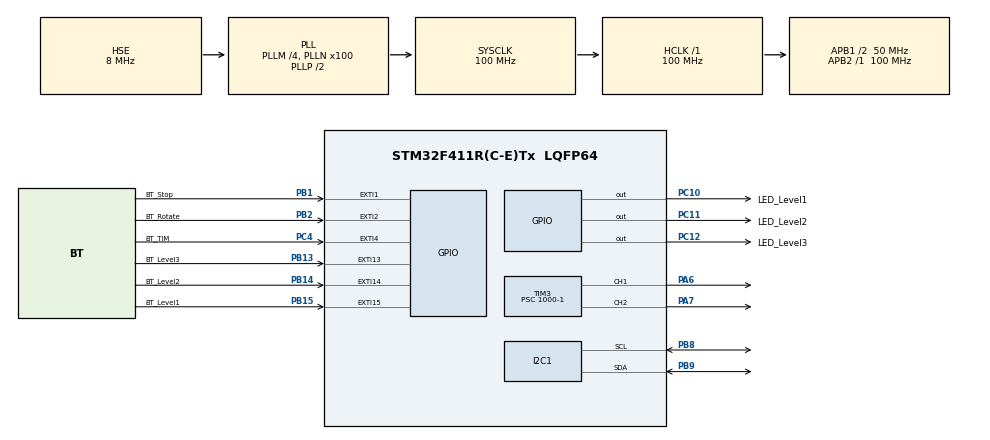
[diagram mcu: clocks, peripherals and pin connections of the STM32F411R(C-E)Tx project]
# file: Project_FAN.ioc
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Mcu.Family=STM32F4
Mcu.Name=STM32F411R(C-E)Tx
Mcu.Package=LQFP64
NVIC.EXTI15_10_IRQn=true\:0\:0\:false\:false\:true\:true\:true\:true
NVIC.EXTI1_IRQn=true\:0\:0\:false\:false\:true\:true\:true\:true
NVIC.EXTI2_IRQn=true\:0\:0\:false\:false\:true\:true\:true\:true
NVIC.EXTI4_IRQn=true\:0\:0\:false\:false\:true\:true\:true\:true
NVIC.PriorityGroup=NVIC_PRIORITYGROUP_4
NVIC.TIM1_TRG_COM_TIM11_IRQn=true\:0\:0\:false\:false\:true\:true\:true\:true
NVIC.TIM3_IRQn=true\:0\:0\:false\:false\:true\:true\:true\:true
PA13.Mode=Serial_Wire
PA13.Signal=SYS_JTMS-SWDIO
PA14.Mode=Serial_Wire
PA14.Signal=SYS_JTCK-SWCLK
PA6.Signal=S_TIM3_CH1
PA7.Signal=S_TIM3_CH2
PB1.GPIO_Label=BT_Stop
PB1.GPIO_ModeDefaultEXTI=GPIO_MODE_IT_FALLING
PB1.GPIO_PuPd=GPIO_NOPULL
PB1.Signal=GPXTI1
PB13.GPIO_Label=BT_Level3
PB13.GPIO_ModeDefaultEXTI=GPIO_MODE_IT_FALLING
PB13.GPIO_PuPd=GPIO_NOPULL
PB13.Signal=GPXTI13
PB14.GPIO_Label=BT_Level2
PB14.GPIO_ModeDefaultEXTI=GPIO_MODE_IT_FALLING
PB14.GPIO_PuPd=GPIO_NOPULL
PB14.Signal=GPXTI14
PB15.GPIO_Label=BT_Level1
PB15.GPIO_ModeDefaultEXTI=GPIO_MODE_IT_FALLING
PB15.GPIO_PuPd=GPIO_NOPULL
PB15.Signal=GPXTI15
PB2.GPIO_Label=BT_Rotate
PB2.GPIO_ModeDefaultEXTI=GPIO_MODE_IT_FALLING
PB2.Signal=GPXTI2
PB8.Mode=I2C
PB8.Signal=I2C1_SCL
PB9.Mode=I2C
PB9.Signal=I2C1_SDA
PC10.GPIO_Label=LED_Level1
PC10.GPIO_PuPd=GPIO_NOPULL
PC10.GPIO_Speed=GPIO_SPEED_FREQ_LOW
PC10.Signal=GPIO_Output
PC11.GPIO_Label=LED_Level2
PC11.GPIO_PuPd=GPIO_NOPULL
PC11.Signal=GPIO_Output
PC12.GPIO_Label=LED_Level3
PC12.GPIO_PuPd=GPIO_NOPULL
PC12.Signal=GPIO_Output
PC4.GPIO_Label=BT_TIM
PC4.GPIO_ModeDefaultEXTI=GPIO_MODE_IT_FALLING
PC4.GPIO_PuPd=GPIO_NOPULL
PC4.Signal=GPXTI4
PH0\ -\ OSC_IN.Mode=HSE-External-Oscillator
PH0\ -\ OSC_IN.Signal=RCC_OSC_IN
PH1\ -\ OSC_OUT.Mode=HSE-External-Oscillator
PH1\ -\ OSC_OUT.Signal=RCC_OSC_OUT
ProjectManager.HeapSize=0x200
ProjectManager.StackSize=0x400
ProjectManager.TargetToolchain=STM32CubeIDE
RCC.48MHZClocksFreq_Value=50000000
RCC.AHBFreq_Value=100000000
RCC.APB1CLKDivider=RCC_HCLK_DIV2
RCC.APB1Freq_Value=50000000
RCC.APB1TimFreq_Value=100000000
RCC.APB2Freq_Value=100000000
RCC.APB2TimFreq_Value=100000000
RCC.CortexFreq_Value=100000000
RCC.HCLKFreq_Value=100000000
RCC.HSE_VALUE=8000000
RCC.HSI_VALUE=16000000
RCC.LSE_VALUE=32768
RCC.PLLM=4
RCC.PLLN=100
RCC.PLLSourceVirtual=RCC_PLLSOURCE_HSE
RCC.SYSCLKFreq_VALUE=100000000
RCC.SYSCLKSource=RCC_SYSCLKSOURCE_PLLCLK
RCC.VCOOutputFreq_Value=200000000
SH.S_TIM3_CH1.0=TIM3_CH1,PWM Generation1 CH1
SH.S_TIM3_CH2.0=TIM3_CH2,PWM Generation2 CH2
TIM11.Period=10000-1
TIM11.Prescaler=10000-1
TIM3.Channel-PWM\ Generation1\ CH1=TIM_CHANNEL_1
TIM3.Channel-PWM\ Generation2\ CH2=TIM_CHANNEL_2
TIM3.Period=1000-1
TIM3.Prescaler=1000-1
VP_TIM11_VS_ClockSourceINT.Mode=Enable_Timer
VP_TIM3_VS_ClockSourceINT.Mode=Internal
board=custom

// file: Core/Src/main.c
/* USER CODE BEGIN Header */
/**
  ******************************************************************************
  * @file           : main.c
  * @brief          : Main program body
  ******************************************************************************
  * @attention
  *
  * Copyright (c) 2023 STMicroelectronics.
  * All rights reserved.
  *
  * This software is licensed under terms that can be found in the LICENSE file
  * in the root directory of this software component.
  * If no LICENSE file comes with this software, it is provided AS-IS.
  *
  ******************************************************************************
  */
/* USER CODE END Header */
#include "main.h"
#include "i2c.h"
#include "tim.h"
#include "gpio.h"

/* USER CODE BEGIN Includes */

#include "I2C_LCD.h"
#include "LED.h"

/* USER CODE END Includes */

/* USER CODE BEGIN PV */
// speed
char *level = "Stop";

// timer
uint8_t tim_flag=0;
int timer = 0;
uint8_t timer_s = 0;
uint8_t timer_m = 0;

// Servo motor for rotate
uint8_t rotate = 0;
char *rotate_State = "OFF";

// LED
static GPIO led = {
    {GPIOC, GPIOC, GPIOC},
    {GPIO_PIN_10, GPIO_PIN_11, GPIO_PIN_12}
};

/* USER CODE END PV */

void SystemClock_Config(void);

/* USER CODE BEGIN 0 */
void FAN_Init(){
	level = "STOP";     // LCD STOP
  TIM3->CCR1 = 0;     // FAN STOP
  changeLED(led, 0);  // LED ALL OFF
  rotate = 0;					// Fan rotate STOP
  rotate_State = "OFF";
  tim_flag = 0;				// Timer Init
  timer = 0;
}

void HAL_GPIO_EXTI_Callback(uint16_t GPIO_Pin){

  static uint32_t before_tick = 0;

  // Speed
  if(GPIO_Pin == BT_Stop_Pin){
  		FAN_Init();
  }
  if(GPIO_Pin == BT_Level1_Pin){
    level = " 01 ";     // LCD
    TIM3->CCR1 = 400;   // FAN
    changeLED(led, 1);  // LED
  }
  if(GPIO_Pin == BT_Level2_Pin){
    level = " 02 ";     // LCD
    TIM3->CCR1 = 700;   // FAN
    changeLED(led, 2);
  }
  if(GPIO_Pin == BT_Level3_Pin){
    level = " 03 ";     // LCD
    TIM3->CCR1 = 900;   // FAN
    changeLED(led, 3);  // LED
  }

  // rotate
  if(GPIO_Pin == BT_Rotate_Pin){
  	if(HAL_GetTick() - before_tick >= 300)		// Debounce
  	{
  		before_tick = HAL_GetTick();

    	if(TIM3->CCR1 != 0){       	// if Fan is work
        rotate = !rotate;
    	}else rotate = 0;
      if(rotate == 0) {
        rotate_State = "OFF";
      }
      else if(rotate == 1)	rotate_State = "ON ";
  	}
  }

  // Timer
  if(GPIO_Pin == BT_TIM_Pin){
  	if(HAL_GetTick() - before_tick >= 300)		// Debounce: 300ms
  	{
  		before_tick = HAL_GetTick();

  		if(TIM3->CCR1 != 0){       	// if Fan is work
  			tim_flag = 1;
  			timer += 10;
  		}
  	}
  }
}

void HAL_TIM_PeriodElapsedCallback(TIM_HandleTypeDef *htim){
  if(htim->Instance == htim11.Instance){
  	static int count = 0;
  	if(tim_flag == 1){
  		count++;
  		if(timer<=count){
  			FAN_Init();
  			count = 0;
  		}
  		timer_m = (timer-count)/60;
  		timer_s = (timer-count)%60;
  	}
  	else{		//  if(tim_flag == 0)
  		count = 0;
  		timer_m = 0;
  		timer_s = 0;
  	}
  }
}

/* USER CODE END 0 */

int main(void)
{

  /* MCU Configuration--------------------------------------------------------*/

  /* Reset of all peripherals, Initializes the Flash interface and the Systick. */
  HAL_Init();

  /* Configure the system clock */
  SystemClock_Config();

  /* Initialize all configured peripherals */
  MX_GPIO_Init();
  MX_TIM3_Init();
  MX_I2C1_Init();
  MX_TIM11_Init();
  /* USER CODE BEGIN 2 */
  // Timer
  HAL_TIM_Base_Start_IT(&htim11);

  // Motor
  HAL_TIM_PWM_Start(&htim3, TIM_CHANNEL_1); // DC motor
  HAL_TIM_PWM_Start(&htim3, TIM_CHANNEL_2); // servo motor

  // OCR = 0
  TIM3->CCR1 = 0;
  TIM3->CCR2 = 0;

  // LED = 0
  changeLED(led, 0);

  //LCD
  lcd_init();

  /* USER CODE END 2 */

  /* Infinite loop */
  while (1)
  {

    /* USER CODE BEGIN 3 */
    // LCD
    char temp_line1[20];
    char temp_line2[20];

    sprintf(temp_line1, "[%4s] Rot: %s", level, rotate_State);
    sprintf(temp_line2, "Timer: %2dm %2ds  ", timer_m, timer_s);

    lcd_put_cur(0, 0);
    lcd_send_string(temp_line1);
    lcd_put_cur(1, 0);
    lcd_send_string(temp_line2);

    HAL_Delay(50);

    // Servo Motor
    static uint8_t rot = 50;
    static int8_t i=1;

    if(rotate){
      if(rot>=250){
      	i=-1;
      }
      if(rot<=50){
      	i=1;
      }
      rot += i*5;
      TIM3->CCR2 = rot;
      //HAL_Delay(5);
    }
  }
  /* USER CODE END 3 */
}

void SystemClock_Config(void)
{
  RCC_OscInitTypeDef RCC_OscInitStruct = {0};
  RCC_ClkInitTypeDef RCC_ClkInitStruct = {0};

  /** Configure the main internal regulator output voltage
  */
  __HAL_RCC_PWR_CLK_ENABLE();
  __HAL_PWR_VOLTAGESCALING_CONFIG(PWR_REGULATOR_VOLTAGE_SCALE1);

  /** Initializes the RCC Oscillators according to the specified parameters
  * in the RCC_OscInitTypeDef structure.
  */
  RCC_OscInitStruct.OscillatorType = RCC_OSCILLATORTYPE_HSE;
  RCC_OscInitStruct.HSEState = RCC_HSE_ON;
  RCC_OscInitStruct.PLL.PLLState = RCC_PLL_ON;
  RCC_OscInitStruct.PLL.PLLSource = RCC_PLLSOURCE_HSE;
  RCC_OscInitStruct.PLL.PLLM = 4;
  RCC_OscInitStruct.PLL.PLLN = 100;
  RCC_OscInitStruct.PLL.PLLP = RCC_PLLP_DIV2;
  RCC_OscInitStruct.PLL.PLLQ = 4;
  if (HAL_RCC_OscConfig(&RCC_OscInitStruct) != HAL_OK)
  {
    Error_Handler();
  }

  /** Initializes the CPU, AHB and APB buses clocks
  */
  RCC_ClkInitStruct.ClockType = RCC_CLOCKTYPE_HCLK|RCC_CLOCKTYPE_SYSCLK
                              |RCC_CLOCKTYPE_PCLK1|RCC_CLOCKTYPE_PCLK2;
  RCC_ClkInitStruct.SYSCLKSource = RCC_SYSCLKSOURCE_PLLCLK;
  RCC_ClkInitStruct.AHBCLKDivider = RCC_SYSCLK_DIV1;
  RCC_ClkInitStruct.APB1CLKDivider = RCC_HCLK_DIV2;
  RCC_ClkInitStruct.APB2CLKDivider = RCC_HCLK_DIV1;

  if (HAL_RCC_ClockConfig(&RCC_ClkInitStruct, FLASH_LATENCY_3) != HAL_OK)
  {
    Error_Handler();
  }
}

void Error_Handler(void)
{
  __disable_irq();
  while (1)
  {
  }
}
